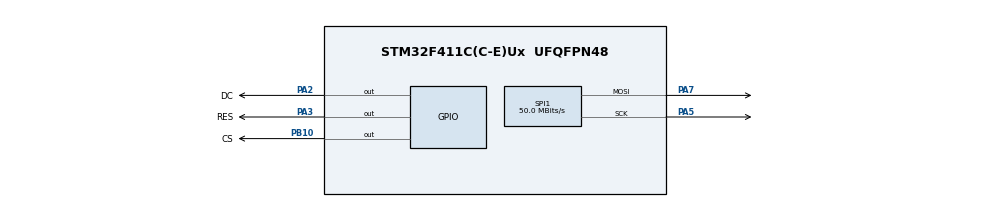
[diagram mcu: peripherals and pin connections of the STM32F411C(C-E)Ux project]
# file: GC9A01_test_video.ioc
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Dma.Request0=SPI1_TX
Dma.SPI1_TX.0.Direction=DMA_MEMORY_TO_PERIPH
Dma.SPI1_TX.0.FIFOMode=DMA_FIFOMODE_DISABLE
Dma.SPI1_TX.0.Instance=DMA2_Stream3
Dma.SPI1_TX.0.MemDataAlignment=DMA_MDATAALIGN_BYTE
Dma.SPI1_TX.0.MemInc=DMA_MINC_ENABLE
Dma.SPI1_TX.0.Mode=DMA_NORMAL
Dma.SPI1_TX.0.PeriphDataAlignment=DMA_PDATAALIGN_BYTE
Dma.SPI1_TX.0.PeriphInc=DMA_PINC_DISABLE
Dma.SPI1_TX.0.Priority=DMA_PRIORITY_MEDIUM
Mcu.Family=STM32F4
Mcu.Name=STM32F411C(C-E)Ux
Mcu.Package=UFQFPN48
NVIC.DMA2_Stream3_IRQn=true\:0\:0\:false\:false\:true\:false\:true\:true
NVIC.PriorityGroup=NVIC_PRIORITYGROUP_4
PA2.GPIO_Label=DC
PA2.Signal=GPIO_Output
PA3.GPIO_Label=RES
PA3.Signal=GPIO_Output
PA5.Mode=TX_Only_Simplex_Unidirect_Master
PA5.Signal=SPI1_SCK
PA7.Mode=TX_Only_Simplex_Unidirect_Master
PA7.Signal=SPI1_MOSI
PB10.GPIO_Label=CS
PB10.Signal=GPIO_Output
ProjectManager.HeapSize=0x800
ProjectManager.StackSize=0x1000
ProjectManager.TargetToolchain=MDK-ARM V5.32
RCC.48MHZClocksFreq_Value=50000000
RCC.AHBFreq_Value=100000000
RCC.APB1CLKDivider=RCC_HCLK_DIV2
RCC.APB1Freq_Value=50000000
RCC.APB1TimFreq_Value=100000000
RCC.APB2Freq_Value=100000000
RCC.APB2TimFreq_Value=100000000
RCC.CortexFreq_Value=100000000
RCC.HCLKFreq_Value=100000000
RCC.HSE_VALUE=25000000
RCC.HSI_VALUE=16000000
RCC.LSE_VALUE=32768
RCC.PLLM=8
RCC.PLLN=100
RCC.SYSCLKFreq_VALUE=100000000
RCC.SYSCLKSource=RCC_SYSCLKSOURCE_PLLCLK
RCC.VCOOutputFreq_Value=200000000
SPI1.CalculateBaudRate=50.0 MBits/s
SPI1.Direction=SPI_DIRECTION_2LINES
SPI1.Mode=SPI_MODE_MASTER
SPI1.VirtualType=VM_MASTER
board=custom

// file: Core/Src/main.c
/* USER CODE BEGIN Header */
/**
  ******************************************************************************
  * @file           : main.c
  * @brief          : Main program body
  ******************************************************************************
  * @attention
  *
  * Copyright (c) 2025 STMicroelectronics.
  * All rights reserved.
  *
  * This software is licensed under terms that can be found in the LICENSE file
  * in the root directory of this software component.
  * If no LICENSE file comes with this software, it is provided AS-IS.
  *
  ******************************************************************************
  */
/* USER CODE END Header */
#include "main.h"

/* USER CODE BEGIN PV */
volatile uint8_t dma_spi_fl1 = 0;
struct MenuMember Members[8];
//static uint16_t ScreenBuff[LCD_W * LCD_H];

/* USER CODE END PV */

void SystemClock_Config(void);
static void MX_GPIO_Init(void);
static void MX_DMA_Init(void);
static void MX_SPI1_Init(void);
/* USER CODE BEGIN PFP */
void delay_ms(uint32_t ms) {
    uint32_t delay_cycles = ms * 100000;
    while (delay_cycles--) {
        __asm__("nop");
    }
}
/* USER CODE END PFP */

int main(void)
{
  /* USER CODE BEGIN 1 */
		for(int i = AMOUNT_OF_MENU_MEMBERS; i >= 0; i--){
		strcpy(Members[i].text, "File ");
		Members[i].number = i + 1;
		Members[i].state = unactive;
		}
		Members[0].state = active;
		strcpy(Members[0].text, "Turn on light");
		strcpy(Members[1].text, "Turn off light");
		strcpy(Members[2].text, "Turn on heater");
		strcpy(Members[3].text, "Turn off heater");
		strcpy(Members[4].text, "Open the file");
  /* USER CODE END 1 */

  /* MCU Configuration--------------------------------------------------------*/

  /* Reset of all peripherals, Initializes the Flash interface and the Systick. */
  LL_APB2_GRP1_EnableClock(LL_APB2_GRP1_PERIPH_SYSCFG);
  LL_APB1_GRP1_EnableClock(LL_APB1_GRP1_PERIPH_PWR);

  /* System interrupt init*/
  NVIC_SetPriorityGrouping(NVIC_PRIORITYGROUP_4);

  /* SysTick_IRQn interrupt configuration */
  NVIC_SetPriority(SysTick_IRQn, NVIC_EncodePriority(NVIC_GetPriorityGrouping(),15, 0));

  /* Configure the system clock */
  SystemClock_Config();

  /* Initialize all configured peripherals */
  MX_GPIO_Init();
  MX_DMA_Init();
  MX_SPI1_Init();
  /* USER CODE BEGIN 2 */
uint16_t angle = 50;
LL_DMA_DisableStream(DMA_NO, DMA_STREAM);
LL_DMA_ClearFlag_TC(DMA_NO);
LL_DMA_ClearFlag_TE(DMA_NO);
LL_DMA_EnableIT_TC(DMA_NO, DMA_STREAM);
LL_DMA_EnableIT_TE(DMA_NO, DMA_STREAM);
LL_SPI_EnableDMAReq_TX(SPI_NO);
LL_SPI_Enable(SPI_NO);

GC9A01_Initial();
GC9A01_ClearScreen(BLACK);
GC9A01_SetFont(&Font24);
GC9A01_SetBackColor(BLACK);
GC9A01_SetTextColor(WHITE);

	char str[50];
	uint8_t temp = 0;
	sprintf(str,"%dC",temp);
	//GC9A01_String (86,106,str);
  /* USER CODE END 2 */

  /* Infinite loop */
  /* USER CODE BEGIN WHILE */
  while (1)
  {
				temp++;
				sprintf(str,"%dC",temp);
				GC9A01_ClearWindow(109,120,153,136,BLACK);

				GC9A01_GradientScale(0,100,temp);
				if(temp > 100) temp = 0;
				delay_ms(10);

//		DrawLineAroundTheCircle(345,	10,	1,BLACK);
//		DrawLineAroundTheCircle(0, 		20,	2,BLACK);
//		DrawLineAroundTheCircle(15, 	10,	1,BLACK);
//		DrawLineAroundTheCircle(30, 	10,	1,BLACK);
//		DrawLineAroundTheCircle(45,		20,	2,BLACK);
//		DrawLineAroundTheCircle(60, 	10,	1,BLACK);
//		DrawLineAroundTheCircle(75, 	10,	1,BLACK);
//		DrawLineAroundTheCircle(90, 	20,	2,BLACK);
//		DrawLineAroundTheCircle(105, 	10,	1,BLACK);
//		DrawLineAroundTheCircle(120, 	10,	1,BLACK);
//		DrawLineAroundTheCircle(135, 	20,	2,BLACK);
//		DrawLineAroundTheCircle(150, 	10,	1,BLACK);
//		DrawLineAroundTheCircle(165, 	10,	1,BLACK);
//		DrawLineAroundTheCircle(180, 	20,	2,BLACK);
//		DrawLineAroundTheCircle(195, 	10,	1,BLACK);
//
//		GC9A01_FillCircle(120,120,8,RED);
//		DrawTriangleArrow(angle,80,3,RED,5,170,10);
//		angle++;
//
//		delay_ms(50);
//		DrawTriangleArrow(angle-1,80,3,WHITE,5,170,10);
//		GC9A01_String(24, 	113,"10");
//		GC9A01_String(49, 	51,	"40");
//		GC9A01_String(109, 	25,	"70");
//		GC9A01_String(158,	51, "100" );
//		GC9A01_String(183, 	113,"130");

    /* USER CODE END WHILE */

  }
}

void SystemClock_Config(void)
{
  LL_FLASH_SetLatency(LL_FLASH_LATENCY_3);
  while(LL_FLASH_GetLatency()!= LL_FLASH_LATENCY_3)
  {
  }
  LL_PWR_SetRegulVoltageScaling(LL_PWR_REGU_VOLTAGE_SCALE1);
  LL_RCC_HSI_SetCalibTrimming(16);
  LL_RCC_HSI_Enable();

   /* Wait till HSI is ready */
  while(LL_RCC_HSI_IsReady() != 1)
  {

  }
  LL_RCC_PLL_ConfigDomain_SYS(LL_RCC_PLLSOURCE_HSI, LL_RCC_PLLM_DIV_8, 100, LL_RCC_PLLP_DIV_2);
  LL_RCC_PLL_Enable();

   /* Wait till PLL is ready */
  while(LL_RCC_PLL_IsReady() != 1)
  {

  }
  LL_RCC_SetAHBPrescaler(LL_RCC_SYSCLK_DIV_1);
  LL_RCC_SetAPB1Prescaler(LL_RCC_APB1_DIV_2);
  LL_RCC_SetAPB2Prescaler(LL_RCC_APB2_DIV_1);
  LL_RCC_SetSysClkSource(LL_RCC_SYS_CLKSOURCE_PLL);

   /* Wait till System clock is ready */
  while(LL_RCC_GetSysClkSource() != LL_RCC_SYS_CLKSOURCE_STATUS_PLL)
  {

  }
  LL_Init1msTick(100000000);
  LL_SetSystemCoreClock(100000000);
  LL_RCC_SetTIMPrescaler(LL_RCC_TIM_PRESCALER_TWICE);
}

static void MX_SPI1_Init(void)
{

  LL_SPI_InitTypeDef SPI_InitStruct = {0};

  LL_GPIO_InitTypeDef GPIO_InitStruct = {0};

  /* Peripheral clock enable */
  LL_APB2_GRP1_EnableClock(LL_APB2_GRP1_PERIPH_SPI1);

  LL_AHB1_GRP1_EnableClock(LL_AHB1_GRP1_PERIPH_GPIOA);
  /**SPI1 GPIO Configuration
  PA5   ------> SPI1_SCK
  PA7   ------> SPI1_MOSI
  */
  GPIO_InitStruct.Pin = LL_GPIO_PIN_5|LL_GPIO_PIN_7;
  GPIO_InitStruct.Mode = LL_GPIO_MODE_ALTERNATE;
  GPIO_InitStruct.Speed = LL_GPIO_SPEED_FREQ_VERY_HIGH;
  GPIO_InitStruct.OutputType = LL_GPIO_OUTPUT_PUSHPULL;
  GPIO_InitStruct.Pull = LL_GPIO_PULL_NO;
  GPIO_InitStruct.Alternate = LL_GPIO_AF_5;
  LL_GPIO_Init(GPIOA, &GPIO_InitStruct);

  /* SPI1 DMA Init */

  /* SPI1_TX Init */
  LL_DMA_SetChannelSelection(DMA2, LL_DMA_STREAM_3, LL_DMA_CHANNEL_3);

  LL_DMA_SetDataTransferDirection(DMA2, LL_DMA_STREAM_3, LL_DMA_DIRECTION_MEMORY_TO_PERIPH);

  LL_DMA_SetStreamPriorityLevel(DMA2, LL_DMA_STREAM_3, LL_DMA_PRIORITY_MEDIUM);

  LL_DMA_SetMode(DMA2, LL_DMA_STREAM_3, LL_DMA_MODE_NORMAL);

  LL_DMA_SetPeriphIncMode(DMA2, LL_DMA_STREAM_3, LL_DMA_PERIPH_NOINCREMENT);

  LL_DMA_SetMemoryIncMode(DMA2, LL_DMA_STREAM_3, LL_DMA_MEMORY_INCREMENT);

  LL_DMA_SetPeriphSize(DMA2, LL_DMA_STREAM_3, LL_DMA_PDATAALIGN_BYTE);

  LL_DMA_SetMemorySize(DMA2, LL_DMA_STREAM_3, LL_DMA_MDATAALIGN_BYTE);

  LL_DMA_DisableFifoMode(DMA2, LL_DMA_STREAM_3);

  /* SPI1 parameter configuration*/
  SPI_InitStruct.TransferDirection = LL_SPI_FULL_DUPLEX;
  SPI_InitStruct.Mode = LL_SPI_MODE_MASTER;
  SPI_InitStruct.DataWidth = LL_SPI_DATAWIDTH_8BIT;
  SPI_InitStruct.ClockPolarity = LL_SPI_POLARITY_LOW;
  SPI_InitStruct.ClockPhase = LL_SPI_PHASE_1EDGE;
  SPI_InitStruct.NSS = LL_SPI_NSS_SOFT;
  SPI_InitStruct.BaudRate = LL_SPI_BAUDRATEPRESCALER_DIV2;
  SPI_InitStruct.BitOrder = LL_SPI_MSB_FIRST;
  SPI_InitStruct.CRCCalculation = LL_SPI_CRCCALCULATION_DISABLE;
  SPI_InitStruct.CRCPoly = 10;
  LL_SPI_Init(SPI1, &SPI_InitStruct);
  LL_SPI_SetStandard(SPI1, LL_SPI_PROTOCOL_MOTOROLA);

}

static void MX_DMA_Init(void)
{

  /* Init with LL driver */
  /* DMA controller clock enable */
  LL_AHB1_GRP1_EnableClock(LL_AHB1_GRP1_PERIPH_DMA2);

  /* DMA interrupt init */
  /* DMA2_Stream3_IRQn interrupt configuration */
  NVIC_SetPriority(DMA2_Stream3_IRQn, NVIC_EncodePriority(NVIC_GetPriorityGrouping(),0, 0));
  NVIC_EnableIRQ(DMA2_Stream3_IRQn);

}

static void MX_GPIO_Init(void)
{
  LL_GPIO_InitTypeDef GPIO_InitStruct = {0};

  /* GPIO Ports Clock Enable */
  LL_AHB1_GRP1_EnableClock(LL_AHB1_GRP1_PERIPH_GPIOA);
  LL_AHB1_GRP1_EnableClock(LL_AHB1_GRP1_PERIPH_GPIOB);

  /**/
  LL_GPIO_ResetOutputPin(GPIOA, DC_Pin|RES_Pin);

  /**/
  LL_GPIO_ResetOutputPin(CS_GPIO_Port, CS_Pin);

  /**/
  GPIO_InitStruct.Pin = DC_Pin|RES_Pin;
  GPIO_InitStruct.Mode = LL_GPIO_MODE_OUTPUT;
  GPIO_InitStruct.Speed = LL_GPIO_SPEED_FREQ_LOW;
  GPIO_InitStruct.OutputType = LL_GPIO_OUTPUT_PUSHPULL;
  GPIO_InitStruct.Pull = LL_GPIO_PULL_NO;
  LL_GPIO_Init(GPIOA, &GPIO_InitStruct);

  /**/
  GPIO_InitStruct.Pin = CS_Pin;
  GPIO_InitStruct.Mode = LL_GPIO_MODE_OUTPUT;
  GPIO_InitStruct.Speed = LL_GPIO_SPEED_FREQ_LOW;
  GPIO_InitStruct.OutputType = LL_GPIO_OUTPUT_PUSHPULL;
  GPIO_InitStruct.Pull = LL_GPIO_PULL_NO;
  LL_GPIO_Init(CS_GPIO_Port, &GPIO_InitStruct);

}

void Error_Handler(void)
{
  __disable_irq();
  while (1)
  {
  }
}
